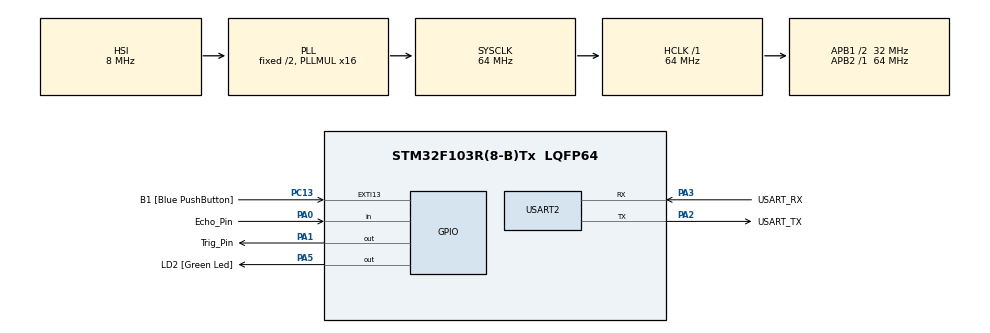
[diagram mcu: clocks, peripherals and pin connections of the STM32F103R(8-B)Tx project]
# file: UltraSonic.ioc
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Mcu.Family=STM32F1
Mcu.Name=STM32F103R(8-B)Tx
Mcu.Package=LQFP64
NVIC.EXTI15_10_IRQn=true\:0\:0\:false\:false\:true\:true\:true\:true
NVIC.PriorityGroup=NVIC_PRIORITYGROUP_4
PA0-WKUP.GPIO_Label=Echo_Pin
PA0-WKUP.Signal=GPIO_Input
PA1.GPIO_Label=Trig_Pin
PA1.Signal=GPIO_Output
PA13.GPIO_Label=TMS
PA13.Mode=Serial_Wire
PA13.Signal=SYS_JTMS-SWDIO
PA14.GPIO_Label=TCK
PA14.Mode=Serial_Wire
PA14.Signal=SYS_JTCK-SWCLK
PA2.GPIO_Label=USART_TX
PA2.GPIO_Mode=GPIO_MODE_AF_PP
PA2.GPIO_PuPd=GPIO_NOPULL
PA2.GPIO_Speed=GPIO_SPEED_FREQ_LOW
PA2.Mode=Asynchronous
PA2.Signal=USART2_TX
PA3.GPIO_Label=USART_RX
PA3.GPIO_Mode=GPIO_MODE_AF_PP
PA3.GPIO_PuPd=GPIO_NOPULL
PA3.GPIO_Speed=GPIO_SPEED_FREQ_LOW
PA3.Mode=Asynchronous
PA3.Signal=USART2_RX
PA5.GPIO_Label=LD2 [Green Led]
PA5.GPIO_ModeDefaultOutputPP=GPIO_MODE_OUTPUT_PP
PA5.GPIO_PuPd=GPIO_NOPULL
PA5.GPIO_Speed=GPIO_SPEED_FREQ_LOW
PA5.Signal=GPIO_Output
PB3.GPIO_Label=SWO
PB3.Signal=SYS_JTDO-TRACESWO
PC13-TAMPER-RTC.GPIO_Label=B1 [Blue PushButton]
PC13-TAMPER-RTC.GPIO_PuPd=GPIO_NOPULL
PC13-TAMPER-RTC.Signal=GPXTI13
PC14-OSC32_IN.Mode=LSE-External-Oscillator
PC14-OSC32_IN.Signal=RCC_OSC32_IN
PC15-OSC32_OUT.Mode=LSE-External-Oscillator
PC15-OSC32_OUT.Signal=RCC_OSC32_OUT
PD0-OSC_IN.Mode=HSE-External-Clock-Source
PD0-OSC_IN.Signal=RCC_OSC_IN
PD1-OSC_OUT.Mode=HSE-External-Clock-Source
PD1-OSC_OUT.Signal=RCC_OSC_OUT
ProjectManager.HeapSize=0x200
ProjectManager.StackSize=0x400
ProjectManager.TargetToolchain=STM32CubeIDE
RCC.AHBFreq_Value=64000000
RCC.APB1CLKDivider=RCC_HCLK_DIV2
RCC.APB1Freq_Value=32000000
RCC.APB1TimFreq_Value=64000000
RCC.APB2Freq_Value=64000000
RCC.APB2TimFreq_Value=64000000
RCC.HCLKFreq_Value=64000000
RCC.PLLMUL=RCC_PLL_MUL16
RCC.RTCClockSelection=RCC_RTCCLKSOURCE_LSE
RCC.SYSCLKFreq_VALUE=64000000
RCC.SYSCLKSource=RCC_SYSCLKSOURCE_PLLCLK
RCC.USBFreq_Value=64000000
TIM3.Prescaler=64-1
USART2.VirtualMode=VM_ASYNC
VP_TIM3_VS_ClockSourceINT.Mode=Internal
board=NUCLEO-F103RB

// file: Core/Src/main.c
/* USER CODE BEGIN Header */
/**
  ******************************************************************************
  * @file           : main.c
  * @brief          : Main program body
  ******************************************************************************
  * @attention
  *
  * Copyright (c) 2022 STMicroelectronics.
  * All rights reserved.
  *
  * This software is licensed under terms that can be found in the LICENSE file
  * in the root directory of this software component.
  * If no LICENSE file comes with this software, it is provided AS-IS.
  *
  ******************************************************************************
  */
/* USER CODE END Header */
#include "main.h"

/* USER CODE BEGIN Includes */
#include "stdio.h"
/* USER CODE END Includes */

 TIM_HandleTypeDef htim3;

UART_HandleTypeDef huart2;

/* USER CODE BEGIN PV */
int trigflag = 0;
uint32_t distance;
int cnt;
/* USER CODE END PV */

void SystemClock_Config(void);
static void MX_GPIO_Init(void);
static void MX_USART2_UART_Init(void);
static void MX_TIM3_Init(void);
/* USER CODE BEGIN PFP */
#ifdef __GNUC__
/* With GCC, small printf (option LD Linker->Libraries->Small printf
   set to 'Yes') calls __io_putchar() */
#define PUTCHAR_PROTOTYPE int __io_putchar(int ch)
#else
#define PUTCHAR_PROTOTYPE int fputc(int ch, FILE *f)
#endif /* __GNUC__ */

PUTCHAR_PROTOTYPE
{
  /* Place your implementation of fputc here */
  /* e.g. write a character to the USART1 and Loop until the end of transmission */
  HAL_UART_Transmit(&huart2, (uint8_t *)&ch, 1, 0xFFFF);

  return ch;
}
/* USER CODE END PFP */

/* USER CODE BEGIN 0 */
void delay_us(uint16_t delay) {
	__HAL_TIM_SET_COUNTER(&htim3, 0);
	while(__HAL_TIM_GET_COUNTER(&htim3) < delay);

//	TIM3->CNT = 0;
//	while(TIM3->CNT < delay);
}

void ultraSonic(uint32_t gpio_pin) {
	if(trigflag == 0) {
		HAL_GPIO_WritePin(GPIOA, gpio_pin, GPIO_PIN_SET);
		delay_us(10);
		HAL_GPIO_WritePin(GPIOA, gpio_pin, GPIO_PIN_RESET);
		trigflag = 1;
	}
	else if(trigflag == 1) {
		while(HAL_GPIO_ReadPin(GPIOA, GPIO_PIN_0) == GPIO_PIN_SET) {
			cnt++;
		}
		if((HAL_GPIO_ReadPin(GPIOA, GPIO_PIN_0) == GPIO_PIN_RESET) && cnt > 0) {
			distance = cnt;
			printf("distance : %d\n\r", distance);
			trigflag = 0;
			cnt = 0;
		}
	}
}
/* USER CODE END 0 */

int main(void)
{

  /* MCU Configuration--------------------------------------------------------*/

  /* Reset of all peripherals, Initializes the Flash interface and the Systick. */
  HAL_Init();

  /* Configure the system clock */
  SystemClock_Config();

  /* Initialize all configured peripherals */
  MX_GPIO_Init();
  MX_USART2_UART_Init();
  MX_TIM3_Init();

  /* Infinite loop */
  /* USER CODE BEGIN WHILE */
  while (1)
  {
	  ultraSonic(GPIO_PIN_1);
    /* USER CODE END WHILE */

  }
}

void SystemClock_Config(void)
{
  RCC_OscInitTypeDef RCC_OscInitStruct = {0};
  RCC_ClkInitTypeDef RCC_ClkInitStruct = {0};

  /** Initializes the RCC Oscillators according to the specified parameters
  * in the RCC_OscInitTypeDef structure.
  */
  RCC_OscInitStruct.OscillatorType = RCC_OSCILLATORTYPE_HSI;
  RCC_OscInitStruct.HSIState = RCC_HSI_ON;
  RCC_OscInitStruct.HSICalibrationValue = RCC_HSICALIBRATION_DEFAULT;
  RCC_OscInitStruct.PLL.PLLState = RCC_PLL_ON;
  RCC_OscInitStruct.PLL.PLLSource = RCC_PLLSOURCE_HSI_DIV2;
  RCC_OscInitStruct.PLL.PLLMUL = RCC_PLL_MUL16;
  if (HAL_RCC_OscConfig(&RCC_OscInitStruct) != HAL_OK)
  {
    Error_Handler();
  }

  /** Initializes the CPU, AHB and APB buses clocks
  */
  RCC_ClkInitStruct.ClockType = RCC_CLOCKTYPE_HCLK|RCC_CLOCKTYPE_SYSCLK
                              |RCC_CLOCKTYPE_PCLK1|RCC_CLOCKTYPE_PCLK2;
  RCC_ClkInitStruct.SYSCLKSource = RCC_SYSCLKSOURCE_PLLCLK;
  RCC_ClkInitStruct.AHBCLKDivider = RCC_SYSCLK_DIV1;
  RCC_ClkInitStruct.APB1CLKDivider = RCC_HCLK_DIV2;
  RCC_ClkInitStruct.APB2CLKDivider = RCC_HCLK_DIV1;

  if (HAL_RCC_ClockConfig(&RCC_ClkInitStruct, FLASH_LATENCY_2) != HAL_OK)
  {
    Error_Handler();
  }
}

static void MX_TIM3_Init(void)
{

  TIM_ClockConfigTypeDef sClockSourceConfig = {0};
  TIM_MasterConfigTypeDef sMasterConfig = {0};

  htim3.Instance = TIM3;
  htim3.Init.Prescaler = 64-1;
  htim3.Init.CounterMode = TIM_COUNTERMODE_UP;
  htim3.Init.Period = 65535;
  htim3.Init.ClockDivision = TIM_CLOCKDIVISION_DIV1;
  htim3.Init.AutoReloadPreload = TIM_AUTORELOAD_PRELOAD_DISABLE;
  if (HAL_TIM_Base_Init(&htim3) != HAL_OK)
  {
    Error_Handler();
  }
  sClockSourceConfig.ClockSource = TIM_CLOCKSOURCE_INTERNAL;
  if (HAL_TIM_ConfigClockSource(&htim3, &sClockSourceConfig) != HAL_OK)
  {
    Error_Handler();
  }
  sMasterConfig.MasterOutputTrigger = TIM_TRGO_RESET;
  sMasterConfig.MasterSlaveMode = TIM_MASTERSLAVEMODE_DISABLE;
  if (HAL_TIMEx_MasterConfigSynchronization(&htim3, &sMasterConfig) != HAL_OK)
  {
    Error_Handler();
  }

}

static void MX_USART2_UART_Init(void)
{

  huart2.Instance = USART2;
  huart2.Init.BaudRate = 115200;
  huart2.Init.WordLength = UART_WORDLENGTH_8B;
  huart2.Init.StopBits = UART_STOPBITS_1;
  huart2.Init.Parity = UART_PARITY_NONE;
  huart2.Init.Mode = UART_MODE_TX_RX;
  huart2.Init.HwFlowCtl = UART_HWCONTROL_NONE;
  huart2.Init.OverSampling = UART_OVERSAMPLING_16;
  if (HAL_UART_Init(&huart2) != HAL_OK)
  {
    Error_Handler();
  }

}

static void MX_GPIO_Init(void)
{
  GPIO_InitTypeDef GPIO_InitStruct = {0};

  /* GPIO Ports Clock Enable */
  __HAL_RCC_GPIOC_CLK_ENABLE();
  __HAL_RCC_GPIOD_CLK_ENABLE();
  __HAL_RCC_GPIOA_CLK_ENABLE();
  __HAL_RCC_GPIOB_CLK_ENABLE();

  /*Configure GPIO pin Output Level */
  HAL_GPIO_WritePin(GPIOA, Trig_Pin_Pin|LD2_Pin, GPIO_PIN_RESET);

  /*Configure GPIO pin : B1_Pin */
  GPIO_InitStruct.Pin = B1_Pin;
  GPIO_InitStruct.Mode = GPIO_MODE_IT_RISING;
  GPIO_InitStruct.Pull = GPIO_NOPULL;
  HAL_GPIO_Init(B1_GPIO_Port, &GPIO_InitStruct);

  /*Configure GPIO pin : Echo_Pin_Pin */
  GPIO_InitStruct.Pin = Echo_Pin_Pin;
  GPIO_InitStruct.Mode = GPIO_MODE_INPUT;
  GPIO_InitStruct.Pull = GPIO_NOPULL;
  HAL_GPIO_Init(Echo_Pin_GPIO_Port, &GPIO_InitStruct);

  /*Configure GPIO pins : Trig_Pin_Pin LD2_Pin */
  GPIO_InitStruct.Pin = Trig_Pin_Pin|LD2_Pin;
  GPIO_InitStruct.Mode = GPIO_MODE_OUTPUT_PP;
  GPIO_InitStruct.Pull = GPIO_NOPULL;
  GPIO_InitStruct.Speed = GPIO_SPEED_FREQ_LOW;
  HAL_GPIO_Init(GPIOA, &GPIO_InitStruct);

  /* EXTI interrupt init*/
  HAL_NVIC_SetPriority(EXTI15_10_IRQn, 0, 0);
  HAL_NVIC_EnableIRQ(EXTI15_10_IRQn);

}

void Error_Handler(void)
{
  __disable_irq();
  while (1)
  {
  }
}
